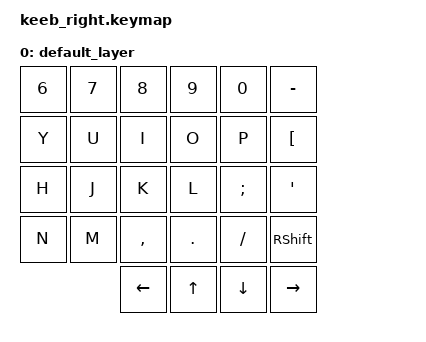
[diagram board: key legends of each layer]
/*
 * Keymap za desnu polovicu (handwire, Lily58-stil).
 *
 * NAPOMENA: keycode-ovi ispod odgovaraju STANDARDNIM US ANSI
 * pozicijama tipki (ne hrvatskim slovima na kapicama) - OS
 * (Windows/Linux) s postavljenim hrvatskim rasporedom tipkovnice
 * će te iste pozicije prikazati kao Š, Đ, Č, Ć, Ž itd. automatski.
 *
 * Ako nešto ne odgovara nakon testiranja, samo promijeni
 * odgovarajući KC_ ispod - ne treba dirati overlay/matricu.
 */

#include <behaviors.dtsi>
#include <dt-bindings/zmk/keys.h>

/ {
    keymap {
        compatible = "zmk,keymap";

        default_layer {
            bindings = <
                &kp N6    &kp N7    &kp N8    &kp N9    &kp N0    &kp MINUS
                &kp Y     &kp U     &kp I     &kp O     &kp P     &kp LBKT
                &kp H     &kp J     &kp K     &kp L     &kp SEMI  &kp SQT
                &kp N     &kp M     &kp COMMA &kp DOT   &kp SLASH &kp RSHFT
                                    &kp LEFT  &kp UP    &kp DOWN  &kp RIGHT
            >;
        };
    };
};
